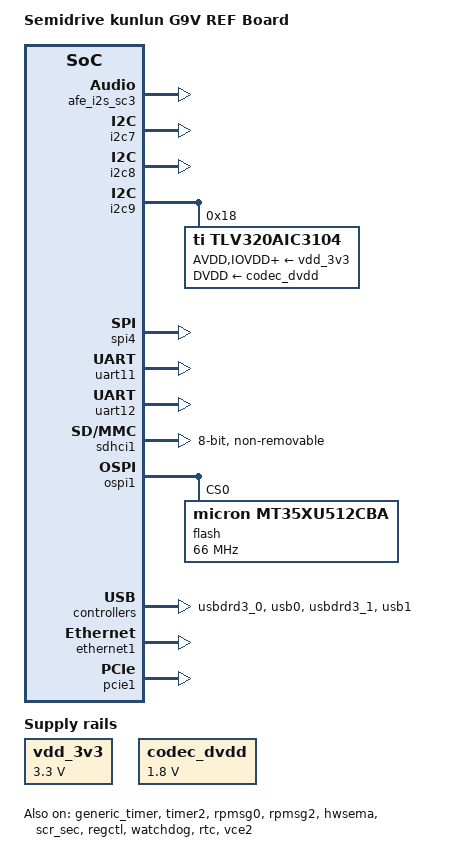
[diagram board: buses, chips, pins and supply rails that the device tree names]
/*
 * Semidrive G9 platform DTS file
 *
 * Copyright (C) 2019, Semidrive  Communications Inc.
 *
 * This file is licensed under a dual GPLv2 or X11 license.
 */

/dts-v1/;

#include "g9v_ap.dtsi"
#include "g9v_ref-clk-ctrl.dtsi"
#include <dt-bindings/pinctrl/pins-sdx9.h>
#include <dt-bindings/memmap/g9v/projects/hybrid/image_cfg.h>
#include <dt-bindings/rpmsg/sd,g9v-hybrid.h>

/ {
	model = "Semidrive kunlun G9V REF Board";

	compatible = "semidrive,kunlun";

	aliases {
		serial0 = &uart12;
		serial1 = &uart11;
		ethernet1 = &ethernet1;
		ethernet2 = &ethernet2;
	};

	memory@50000000 {
		device_type = "memory";
		reg = <HIGH32(AP1_REE_MEMBASE + DTB_MEMSIZE) LOW32(AP1_REE_MEMBASE + DTB_MEMSIZE) HIGH32(AP1_KERNEL_MEMSIZE) LOW32(AP1_KERNEL_MEMSIZE)>;
	};

	reserved-memory {
		#address-cells = <2>;
		#size-cells = <2>;
		ranges;

		crashdump {
			/* reserve preloader mem for crashdump */
			compatibel = "crashdump";
			reg = <HIGH32(AP1_PRELOADER_MEMBASE) LOW32(AP1_PRELOADER_MEMBASE) 0 AP1_PRELOADER_MEMSIZE>;
		};

		/* Default Common CMA Pool */
		/* QUIRK: Must be kept in the lower 4096 MiBs of DRAM banks for VE */
		linux,cma {
			compatible = "shared-dma-pool";
			reusable;
			size = <0x0 0x1bc00000>;
			/* 4GB maximum in case of 32-bit only capable devices */
			alloc-ranges = <0x0 0x0 0x0 0xffffffff>;
			linux,cma-default;
		};

		rproc_0_safety: rproc@0 {
			compatible = "shared-dma-pool";
			no-map;
			reg = <0x0 RPMSG0_MEM_POOL_BASE 0x0 RPMSG0_MEM_POOL_SIZE>;
		};

		rproc_1_secure: rproc@1 {
			compatible = "shared-dma-pool";
			no-map;
			reg = <0x0 RPMSG1_MEM_POOL_BASE 0x0 RPMSG1_MEM_POOL_SIZE>;
		};

		rproc_2_mpc: rproc@2 {
			compatible = "shared-dma-pool";
			no-map;
			reg = <0x0 RPMSG2_MEM_POOL_BASE 0x0 RPMSG2_MEM_POOL_SIZE>;
		};
	};

	chosen {
		bootargs = "skip_initramfs noinitrd root=/dev/mmcblk0p8 rootfstype=ext4 rootwait rw init=/sbin/init highres=1 earlycon loglevel=11 console=ttyS0,115200n8";
		stdout-path = "serial0";
	};

	vdd_3v3: fixed-vdd_3v3 {
		compatible = "regulator-fixed";
		regulator-name = "vdd_3v3";
		regulator-min-microvolt = <3300000>;
		regulator-max-microvolt = <3300000>;
	};

	codec_dvdd: fixed-dvdd {
		compatible = "regulator-fixed";
		regulator-name = "codec_dvdd_fixed";
		regulator-min-microvolt = <1800000>;
		regulator-max-microvolt = <1800000>;
	};

	sound: sound {
		compatible = "semidrive,g9-tlv320aic3104";
		semidrive,hp-spk-amp-warmup-time-us = <1>;
		semidrive,hp-spk-amp-shutdown-time-us = <800>;
		semidrive,audio-codec = <&tlv320aic3104>;
		status = "okay";
	};
};

&dmac6 {
	status = "okay";
};
&dmac7 {
	status = "okay";
};


&afe_i2s_sc3{
	dmas = <&dmac7 X9_DMA_SLV_ID_I2S_SC4_TX>, <&dmac7 X9_DMA_SLV_ID_I2S_SC4_RX>;
	dma-names = "tx", "rx";
	status = "okay";
};

&i2c7 {
	status = "okay";
};

&i2c8 {
	status = "okay";
};

&i2c9 {
	status = "okay";
	tlv320aic3104: codec@18 {
		compatible = "ti,tlv320aic3104";
		reg = <0x18>;
		ai3x-micbias-vg = <2>;		/* 2.5V */
		AVDD-supply = <&vdd_3v3>;
		IOVDD-supply = <&vdd_3v3>;
		DRVDD-supply = <&vdd_3v3>;
		DVDD-supply = <&codec_dvdd>;
	};
};

&spi4 {
	status = "okay";
	//pinctrl-names = "default";
	//pinctrl-0 = <&pinctrl_spi5>;
	/*spi-test@0 {
	 *	compatible = "spi-loopback-test";
	 *	reg = <0>;
	 *	spi-max-frequency = <1000000>;
	 *	status = "okay";
	};*/
};

&spi5 {
	status = "disabled";
};

&spi6 {
	status = "disabled";
};

&spi7 {
	status = "disabled";
};

&uart11 {
	dmas = <&dmac6 X9_DMA_SLV_ID_UART12_TX>, <&dmac6 X9_DMA_SLV_ID_UART12_RX>;
	dma-names = "tx", "rx";
	status = "okay";
};

&uart12 {
	dmas = <&dmac6 X9_DMA_SLV_ID_UART13_TX>, <&dmac6 X9_DMA_SLV_ID_UART13_RX>;
	dma-names = "tx", "rx";
	status = "okay";
};

&generic_timer {
	interrupts = <1 13 (GIC_CPU_MASK_SIMPLE(1) | IRQ_TYPE_LEVEL_LOW)>,
		<1 14 (GIC_CPU_MASK_SIMPLE(1) | IRQ_TYPE_LEVEL_LOW)>,
		<1 11 (GIC_CPU_MASK_SIMPLE(1) | IRQ_TYPE_LEVEL_LOW)>,
		<1 10 (GIC_CPU_MASK_SIMPLE(1) | IRQ_TYPE_LEVEL_LOW)>;
	status = "okay";
};

&timer2 {
	/*
	* op-mode options:
	* 0 or No such item : timer
	* 1 : pwm-capture
	*/
	op-mode = <1>;
	sd,capture-num-chan = <1>;     //pwm capture channel
	status = "okay";
};

&pinctrl {
	pinctrl-names = "default";

	sdx9-evk {
		pinctrl_spi5: spi5grp {
		kunlun,pins = <
			X9_PINCTRL_EMMC2_DATA4__SPI5_SCLK_3	X9_PINCTRL_OPEN_DRAIN_DISABLE
			X9_PINCTRL_EMMC2_DATA5__SPI5_MISO_3	X9_PINCTRL_OPEN_DRAIN_DISABLE
			X9_PINCTRL_EMMC2_DATA6__SPI5_MOSI_3	X9_PINCTRL_OPEN_DRAIN_DISABLE
			X9_PINCTRL_EMMC2_DATA7__SPI5_SS_3	X9_PINCTRL_OPEN_DRAIN_DISABLE
			>;
		};
		pinctrl_mshc1: mshc1grp {
			kunlun,pins = <
				X9_PINCTRL_EMMC1_CLK__MSHC1_CLK_1 		X9_PINCTRL_OPEN_DRAIN_DISABLE
				X9_PINCTRL_EMMC1_CMD__MSHC1_CMD_1		X9_PINCTRL_OPEN_DRAIN_DISABLE
				X9_PINCTRL_EMMC1_DATA0__MSHC1_DATA_0_1	X9_PINCTRL_OPEN_DRAIN_DISABLE
				X9_PINCTRL_EMMC1_DATA1__MSHC1_DATA_1_1	X9_PINCTRL_OPEN_DRAIN_DISABLE
				X9_PINCTRL_EMMC1_DATA2__MSHC1_DATA_2_1	X9_PINCTRL_OPEN_DRAIN_DISABLE
				X9_PINCTRL_EMMC1_DATA3__MSHC1_DATA_3_1	X9_PINCTRL_OPEN_DRAIN_DISABLE
				X9_PINCTRL_EMMC1_DATA4__MSHC1_DATA_4_1	X9_PINCTRL_OPEN_DRAIN_DISABLE
				X9_PINCTRL_EMMC1_DATA5__MSHC1_DATA_5_1	X9_PINCTRL_OPEN_DRAIN_DISABLE
				X9_PINCTRL_EMMC1_DATA6__MSHC1_DATA_6_1	X9_PINCTRL_OPEN_DRAIN_DISABLE
				X9_PINCTRL_EMMC1_DATA7__MSHC1_DATA_7_1	X9_PINCTRL_OPEN_DRAIN_DISABLE
				X9_PINCTRL_EMMC1_STROBE__MSHC1_STB_1		X9_PINCTRL_OPEN_DRAIN_ENABLE
				X9_PINCTRL_EMMC1_RESET_N__MSHC1_RST_N_1	X9_PINCTRL_OPEN_DRAIN_DISABLE
			>;
		};
	};
};

&sdhci1 {
	bus-width = <8>;
	non-removable;
	no-sdio;
	no-sd;
	card-is-emmc;
	disable-wp;
	cap-mmc-highspeed;
	keep-power-in-suspend;
	mmc-ddr-1_8v;
	mmc-hs200-1_8v;
	mmc-hs400-1_8v;
	mmc-hs400-enhanced-strobe;
	status = "okay";
};

&ospi1 {
	status = "okay";

	flash@0 {
		#address-cells = <1>;
		#size-cells = <1>;
		compatible = "micron,mt35xu512cba", "jedec,spi-nor";
		reg = <0>;
		spi-max-frequency = <66000000>;

		m25p,fast-read;
		cdns,page-size = <256>;
		cdns,block-size = <16>;
		cdns,read-delay = <1>;
		cdns,tshsl-ns = <50>;
		cdns,tsd2d-ns = <50>;
		cdns,tchsh-ns = <4>;
		cdns,tslch-ns = <4>;
	};
};

&mbox {
	status = "okay";
};

&rpmsg0 {
	memory-region = <&rproc_0_safety>;
	reg = <0x0 RPMSG0_MEM_HEAD_BASE 0x0 RPMSG0_MEM_HEAD_SIZE>;
	mboxes = <&mbox 0x13 0x1300>;
	status = "okay";
};

&rpmsg1 {
	memory-region = <&rproc_1_secure>;
	reg = <0x0 RPMSG1_MEM_HEAD_BASE 0x0 RPMSG1_MEM_HEAD_SIZE>;
	mboxes = <&mbox 0x14 0x1401>;
};

&rpmsg2 {
	memory-region = <&rproc_2_mpc>;
	reg = <0x0 RPMSG2_MEM_HEAD_BASE 0x0 RPMSG2_MEM_HEAD_SIZE>;
	mboxes = <&mbox 0x15 0x1502>;
	status = "okay";
};

&ipcc0 {
	status = "okay";
};

&ipcc1 {
	status = "okay";
};

&usbdrd3_0 {
	status = "okay";
};

&usb0 {
	status = "okay";
};

&usbdrd3_1 {
	status = "okay";
};

&usb1 {
	status = "okay";
};

&ethernet1 {
	status = "okay";
};

&eth_phy2 {
	maximum-speed = "1000M-speed";
};

&ethernet2 {
	status = "disabled";
};

&hwsema {
	status = "okay";
};

&scr_sec {
	status = "okay";
};

&pcie1 {
	status = "okay";
};

&regctl {
	status = "okay";
};

&watchdog {
	wdt,auto-run = "false";
	status = "okay";
};

&rtc {
	status = "okay";
};

&vce2 {
	/*
	 * op-mode options:
	 * bit 0: rng enable(1) or disable(0)
	 * bit 1: ce enable(1) or disable(0)
	 */
	op-mode = <3>;
	status = "okay";
};

